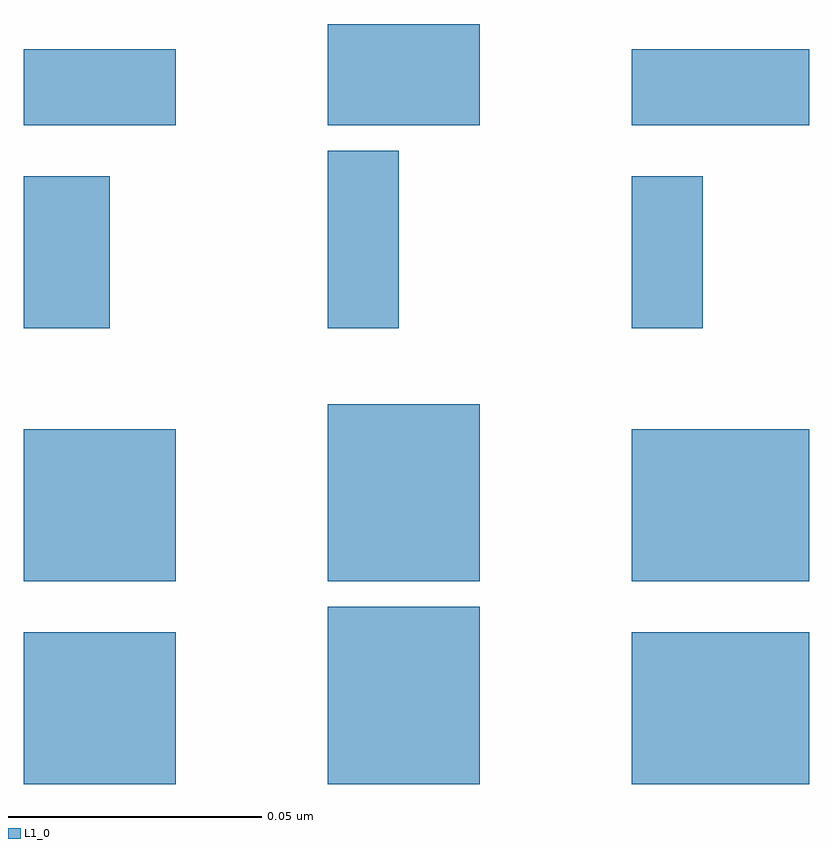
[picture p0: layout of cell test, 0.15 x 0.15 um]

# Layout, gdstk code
import gdstk
lib = gdstk.Library(unit=1e-6, precision=1e-09)
def R(c, l, rs):  # rectangles x0, y0, x1, y1
    for r in rs: c.add(gdstk.rectangle(r[:2], r[2:], *l))
L1_0 = (1, 0)

test = lib.new_cell('test')
R(test, L1_0, [(0,0,0.03,0.03), (0.06,0,0.09,0.035), (0.12,0,0.155,0.03), (0,0.04,0.03,0.07), (0.06,0.04,0.09,0.075), (0.12,0.04,0.155,0.07), (0,0.09,0.017,0.12), (0.06,0.09,0.074,0.125), (0.12,0.09,0.134,0.12), (0,0.13,0.03,0.145), (0.06,0.13,0.09,0.15), (0.12,0.13,0.155,0.145)])

lib.write_gds('test.gds')
